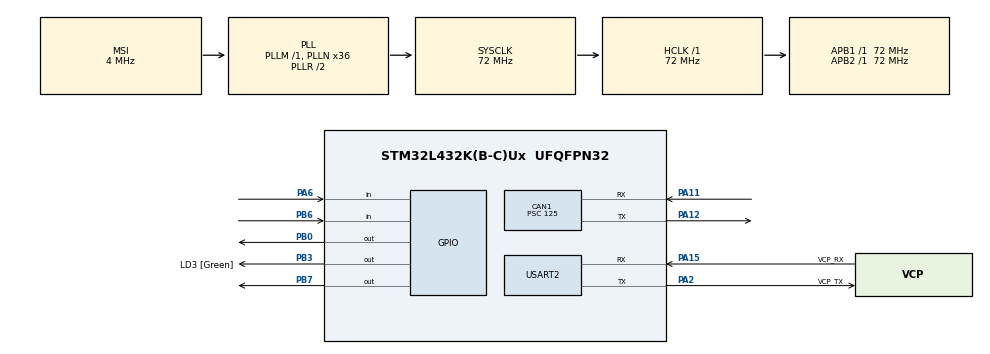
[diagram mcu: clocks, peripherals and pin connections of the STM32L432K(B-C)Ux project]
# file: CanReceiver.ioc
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Mcu.Family=STM32L4
CAN1.NART=ENABLE
RCC.CortexFreq_Value=72000000
Dma.USART2_TX.1.MemInc=DMA_MINC_ENABLE
PA0.GPIO_Label=MCO [High speed clock in]
PA11.Mode=CAN_Activate
PA15\ (JTDI).Signal=USART2_RX
PC15-OSC32_OUT\ (PC15).Mode=LSE-External-Oscillator
RCC.SYSCLKSource=RCC_SYSCLKSOURCE_PLLCLK
ProjectManager.StackSize=0x400
PB3\ (JTDO-TRACESWO).Signal=GPIO_Output
PC14-OSC32_IN\ (PC14).Mode=LSE-External-Oscillator
PA14\ (JTCK-SWCLK).Signal=SYS_JTCK-SWCLK
PA15\ (JTDI).Mode=Asynchronous
PA12.Signal=CAN1_TX
Dma.USART2_RX.0.Priority=DMA_PRIORITY_LOW
Dma.USART2_RX.0.PeriphDataAlignment=DMA_PDATAALIGN_BYTE
RCC.HCLKFreq_Value=72000000
RCC.APB2TimFreq_Value=72000000
PB6.Signal=GPIO_Input
Dma.USART2_TX.1.Mode=DMA_CIRCULAR
RCC.AHBFreq_Value=72000000
RCC.HSE_VALUE=8000000
USART2.VirtualMode-Asynchronous=VM_ASYNC
RCC.PLLMUL=RCC_PLLMUL_4
CAN1.RFLM=DISABLE
PA6.GPIO_PuPd=GPIO_PULLDOWN
Dma.USART2_RX.0.MemDataAlignment=DMA_MDATAALIGN_BYTE
Dma.USART2_TX.1.Instance=DMA1_Channel7
PA0.Mode=HSE-External-Clock-Source-for-LittleOrca
Dma.USART2_RX.0.Instance=DMA1_Channel6
PB7.Signal=GPIO_Output
PA0.Signal=RCC_CK_IN
CAN1.Prescaler=125
Mcu.Package=UFQFPN32
PA6.Signal=GPIO_Input
Dma.USART2_RX.0.PeriphInc=DMA_PINC_DISABLE
PA2.GPIO_Label=VCP_TX
Dma.Request1=USART2_TX
RCC.APB1TimFreq_Value=72000000
PA13\ (JTMS-SWDIO).Signal=SYS_JTMS-SWDIO
Dma.Request0=USART2_RX
CAN1.CalculateTimeBit=26041.66
RCC.HSI48_VALUE=48000000
CAN1.CalculateTimeQuantum=1736.111111111111
RCC.MSI_VALUE=4000000
PA14\ (JTCK-SWCLK).Mode=Serial_Wire
NVIC.DMA1_Channel6_IRQn=true\:0\:0\:false\:false\:true\:false\:true
Dma.USART2_TX.1.Priority=DMA_PRIORITY_LOW
CAN1.TXFP=ENABLE
PB6.GPIO_PuPd=GPIO_PULLDOWN
CAN1.CalculateBaudRate=38400
Dma.USART2_RX.0.Direction=DMA_PERIPH_TO_MEMORY
PC15-OSC32_OUT\ (PC15).Signal=RCC_OSC32_OUT
PA14\ (JTCK-SWCLK).GPIO_Label=SWCLK
PB3\ (JTDO-TRACESWO).GPIO_Label=LD3 [Green]
Dma.USART2_TX.1.PeriphDataAlignment=DMA_PDATAALIGN_BYTE
Dma.USART2_RX.0.Mode=DMA_CIRCULAR
RCC.HSI16_VALUE=16000000
CAN1.BS2=CAN_BS2_2TQ
CAN1.BS1=CAN_BS1_12TQ
ProjectManager.TargetToolchain=STM32CubeIDE
Dma.USART2_TX.1.PeriphInc=DMA_PINC_DISABLE
board=NUCLEO-L432KC
RCC.VCOOutputFreq_Value=144000000
Dma.USART2_TX.1.Direction=DMA_MEMORY_TO_PERIPH
RCC.APB2Freq_Value=72000000
PA13\ (JTMS-SWDIO).GPIO_Label=SWDIO
PA15\ (JTDI).GPIO_Label=VCP_RX
Mcu.Name=STM32L432K(B-C)Ux
Dma.USART2_RX.0.MemInc=DMA_MINC_ENABLE
PA2.Signal=USART2_TX
PA13\ (JTMS-SWDIO).Mode=Serial_Wire
RCC.SYSCLKFreq_VALUE=72000000
PA12.Mode=CAN_Activate
PC14-OSC32_IN\ (PC14).Signal=RCC_OSC32_IN
PA11.Signal=CAN1_RX
ProjectManager.HeapSize=0x200
RCC.HSI_VALUE=16000000
NVIC.PriorityGroup=NVIC_PRIORITYGROUP_4
RCC.PLLN=36
PA2.Mode=Asynchronous
NVIC.DMA1_Channel7_IRQn=true\:0\:0\:false\:false\:true\:false\:true
Dma.USART2_TX.1.MemDataAlignment=DMA_MDATAALIGN_BYTE
RCC.APB1Freq_Value=72000000
PB0.Signal=GPIO_Output
NVIC.CAN1_RX0_IRQn=true\:0\:0\:false\:false\:true\:true\:true

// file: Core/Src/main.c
/* USER CODE BEGIN Header */
/**
  ******************************************************************************
  * @file           : main.c
  * @brief          : Main program body
  ******************************************************************************
  * @attention
  *
  * <h2><center>&copy; Copyright (c) 2021 STMicroelectronics.
  * All rights reserved.</center></h2>
  *
  * This software component is licensed by ST under BSD 3-Clause license,
  * the "License"; You may not use this file except in compliance with the
  * License. You may obtain a copy of the License at:
  *                        opensource.org/licenses/BSD-3-Clause
  *
  ******************************************************************************
  */
/* USER CODE END Header */
#include "main.h"

/* USER CODE BEGIN Includes */
#include "circle_queue.h"
#include "stdio.h"
#include "string.h"
#include "circle_queue_struct.h"
#include "stdbool.h"
#include "can_driver.h"
#include "comm_relay.h"
#include "stdbool.h"

/* USER CODE END Includes */

/* USER CODE BEGIN PD */

#define PACKAGE_SIZE 8
#define UART_IN_BUF_SIZE 512
/* USER CODE END PD */

/* USER CODE BEGIN PM */

void uart_transmitFromCanRxQueue();

/* USER CODE END PM */

CAN_HandleTypeDef hcan1;

UART_HandleTypeDef huart2;
DMA_HandleTypeDef hdma_usart2_rx;
DMA_HandleTypeDef hdma_usart2_tx;

/* USER CODE BEGIN PV */

int ERR_COUNT = 0;
bool uart_tx_ready = 1;
char frameBuffer[COMM_MAX_FRAME_SIZE + 1] = {0};
char * nextTxFrame = NULL;

int uart_in_lastStart = -1;
int uart_in_read_ptr = 0;
int uart_dma_laps_ahead = 0;
char uart_in[UART_IN_BUF_SIZE] = {0};
int uart_in_escapes = 0;

/* USER CODE BEGIN PV */

CAN_FilterTypeDef CanFilter;
CAN_RxHeaderTypeDef CanRxHeader;
CAN_TxHeaderTypeDef CanTxHeader;

/* USER CODE END PV */

void SystemClock_Config(void);
static void MX_GPIO_Init(void);
static void MX_DMA_Init(void);
static void MX_USART2_UART_Init(void);
static void MX_CAN1_Init(void);

int main(void)
{

  /* MCU Configuration--------------------------------------------------------*/

  /* Reset of all peripherals, Initializes the Flash interface and the Systick. */
  HAL_Init();

  /* Configure the system clock */
  SystemClock_Config();

  /* Initialize all configured peripherals */
  MX_GPIO_Init();
  MX_DMA_Init();
  MX_USART2_UART_Init();
  MX_CAN1_Init();
  /* USER CODE BEGIN 2 */
  can_init(&hcan1, &CanRxHeader, &CanTxHeader, &huart2);
  /* USER CODE END 2 */

  /* Infinite loop */
  /* USER CODE BEGIN WHILE */

  uart_init();

  // Code necessary for test of Req 10
  struct CAN_QUEUE_DATA Req10TestPackage = {16, {0, 0, 0, 0, 0, 0, 0, 0}};

  /*for (int i = 0; i < 100; i++) {
	 while (!passToCanTX(&Req10TestPackage)) {} // Transmitting message over CAN as fast as possible.
  }*/

  while (1)
  {
	  uart_transmitFromCanRxQueue(); 	// CAN IN -> UART OUT
	  uart_in_read();					// UART IN -> CAN OUT
    /* USER CODE END WHILE */

  }
}

void SystemClock_Config(void)
{
  RCC_OscInitTypeDef RCC_OscInitStruct = {0};
  RCC_ClkInitTypeDef RCC_ClkInitStruct = {0};
  RCC_PeriphCLKInitTypeDef PeriphClkInit = {0};

  /** Configure LSE Drive Capability
  */
  HAL_PWR_EnableBkUpAccess();
  __HAL_RCC_LSEDRIVE_CONFIG(RCC_LSEDRIVE_LOW);
  /** Initializes the RCC Oscillators according to the specified parameters
  * in the RCC_OscInitTypeDef structure.
  */
  RCC_OscInitStruct.OscillatorType = RCC_OSCILLATORTYPE_LSE|RCC_OSCILLATORTYPE_MSI;
  RCC_OscInitStruct.LSEState = RCC_LSE_ON;
  RCC_OscInitStruct.MSIState = RCC_MSI_ON;
  RCC_OscInitStruct.MSICalibrationValue = 0;
  RCC_OscInitStruct.MSIClockRange = RCC_MSIRANGE_6;
  RCC_OscInitStruct.PLL.PLLState = RCC_PLL_ON;
  RCC_OscInitStruct.PLL.PLLSource = RCC_PLLSOURCE_MSI;
  RCC_OscInitStruct.PLL.PLLM = 1;
  RCC_OscInitStruct.PLL.PLLN = 36;
  RCC_OscInitStruct.PLL.PLLP = RCC_PLLP_DIV7;
  RCC_OscInitStruct.PLL.PLLQ = RCC_PLLQ_DIV2;
  RCC_OscInitStruct.PLL.PLLR = RCC_PLLR_DIV2;
  if (HAL_RCC_OscConfig(&RCC_OscInitStruct) != HAL_OK)
  {
    Error_Handler();
  }
  /** Initializes the CPU, AHB and APB buses clocks
  */
  RCC_ClkInitStruct.ClockType = RCC_CLOCKTYPE_HCLK|RCC_CLOCKTYPE_SYSCLK
                              |RCC_CLOCKTYPE_PCLK1|RCC_CLOCKTYPE_PCLK2;
  RCC_ClkInitStruct.SYSCLKSource = RCC_SYSCLKSOURCE_PLLCLK;
  RCC_ClkInitStruct.AHBCLKDivider = RCC_SYSCLK_DIV1;
  RCC_ClkInitStruct.APB1CLKDivider = RCC_HCLK_DIV1;
  RCC_ClkInitStruct.APB2CLKDivider = RCC_HCLK_DIV1;

  if (HAL_RCC_ClockConfig(&RCC_ClkInitStruct, FLASH_LATENCY_4) != HAL_OK)
  {
    Error_Handler();
  }
  PeriphClkInit.PeriphClockSelection = RCC_PERIPHCLK_USART2;
  PeriphClkInit.Usart2ClockSelection = RCC_USART2CLKSOURCE_PCLK1;
  if (HAL_RCCEx_PeriphCLKConfig(&PeriphClkInit) != HAL_OK)
  {
    Error_Handler();
  }
  /** Configure the main internal regulator output voltage
  */
  if (HAL_PWREx_ControlVoltageScaling(PWR_REGULATOR_VOLTAGE_SCALE1) != HAL_OK)
  {
    Error_Handler();
  }
  /** Enable MSI Auto calibration
  */
  HAL_RCCEx_EnableMSIPLLMode();
}

static void MX_CAN1_Init(void)
{

  /* USER CODE BEGIN CAN1_Init 0 */
	  uint32_t ext_id = 0x00000000;							// Den største værdi der kan være på MSB er 1
	  uint32_t mask = 0xFFFFFF00;
	  CanFilter.FilterMode = CAN_FILTERMODE_IDMASK;			// Vi vælger at bruge mask mode
	  CanFilter.FilterIdHigh = (ext_id & 0x1FFFFFFF) >> 13; // (ext_id << 3) >> 16;						// Da vi har 32 bit ID, er dette de 16 MSB af ID
	  CanFilter.FilterIdLow =  (ext_id << 3) | CAN_ID_EXT;	// Da vi har 32 bit ID, er dette de 16 LSB af ID
	  CanFilter.FilterMaskIdHigh = (mask & 0x1FFFFFFF) >> 13;// << 5;					// Maskens 16 MSB
	  CanFilter.FilterMaskIdLow = (mask << 3);// << 5 | 0x10;					// Maskens 16 LSB
	  CanFilter.FilterScale = CAN_FILTERSCALE_32BIT;		// ID er et 32 bit-tal
	  CanFilter.FilterActivation = ENABLE;					// Vi aktiverer filteret
	  CanFilter.FilterBank = 0;								// Vi vælger filter 0 ud af 14 mulige filtre
	  CanFilter.FilterFIFOAssignment = CAN_FILTER_FIFO0;	// Vi vælger FIFO0 til forskel for FIFO1

	  CanRxHeader.DLC = PACKAGE_SIZE;
	  CanRxHeader.ExtId = 0x0;
	  CanRxHeader.IDE = CAN_ID_EXT;
	  CanRxHeader.RTR = CAN_RTR_DATA;
	  CanRxHeader.FilterMatchIndex = 0x00;

	  CanTxHeader.DLC = PACKAGE_SIZE;                        // Der kommer 8 byte som data i beskeden
	  CanTxHeader.ExtId = 0x00000000;                        // 32 bit ID (29 er identifier)
	  CanTxHeader.IDE = CAN_ID_EXT;                            // Vi har et extended ID = 32 bit til forskel fra standard på 16 bit (11 er identifier)
	  CanTxHeader.RTR = CAN_RTR_DATA;                        // Vi sender data
	  CanTxHeader.TransmitGlobalTime = DISABLE;                // Der skal IKKE sendes et timestamp med hver besked

  /* USER CODE END CAN1_Init 0 */

  /* USER CODE BEGIN CAN1_Init 1 */
	  __HAL_RCC_CAN1_CLK_ENABLE();

  /* USER CODE END CAN1_Init 1 */
  hcan1.Instance = CAN1;
  hcan1.Init.Prescaler = 125;
  hcan1.Init.Mode = CAN_MODE_NORMAL;
  hcan1.Init.SyncJumpWidth = CAN_SJW_1TQ;
  hcan1.Init.TimeSeg1 = CAN_BS1_12TQ;
  hcan1.Init.TimeSeg2 = CAN_BS2_2TQ;
  hcan1.Init.TimeTriggeredMode = DISABLE;
  hcan1.Init.AutoBusOff = DISABLE;
  hcan1.Init.AutoWakeUp = DISABLE;
  hcan1.Init.AutoRetransmission = ENABLE;
  hcan1.Init.ReceiveFifoLocked = DISABLE;
  hcan1.Init.TransmitFifoPriority = ENABLE;
  if (HAL_CAN_Init(&hcan1) != HAL_OK)
  {
    Error_Handler();
  }
  /* USER CODE BEGIN CAN1_Init 2 */

    while (HAL_CAN_ConfigFilter(&hcan1, &CanFilter) != HAL_OK) {}
    HAL_CAN_ActivateNotification(&hcan1, CAN_IT_RX_FIFO0_MSG_PENDING);
    HAL_CAN_Start(&hcan1);
  /* USER CODE END CAN1_Init 2 */

}

static void MX_USART2_UART_Init(void)
{

  huart2.Instance = USART2;
  huart2.Init.BaudRate = 115200;
  huart2.Init.WordLength = UART_WORDLENGTH_8B;
  huart2.Init.StopBits = UART_STOPBITS_1;
  huart2.Init.Parity = UART_PARITY_NONE;
  huart2.Init.Mode = UART_MODE_TX_RX;
  huart2.Init.HwFlowCtl = UART_HWCONTROL_NONE;
  huart2.Init.OverSampling = UART_OVERSAMPLING_16;
  huart2.Init.OneBitSampling = UART_ONE_BIT_SAMPLE_DISABLE;
  huart2.AdvancedInit.AdvFeatureInit = UART_ADVFEATURE_NO_INIT;
  if (HAL_UART_Init(&huart2) != HAL_OK)
  {
    Error_Handler();
  }

}

static void MX_DMA_Init(void)
{

  /* DMA controller clock enable */
  __HAL_RCC_DMA1_CLK_ENABLE();

  /* DMA interrupt init */
  /* DMA1_Channel6_IRQn interrupt configuration */
  HAL_NVIC_SetPriority(DMA1_Channel6_IRQn, 0, 0);
  HAL_NVIC_EnableIRQ(DMA1_Channel6_IRQn);
  /* DMA1_Channel7_IRQn interrupt configuration */
  HAL_NVIC_SetPriority(DMA1_Channel7_IRQn, 0, 0);
  HAL_NVIC_EnableIRQ(DMA1_Channel7_IRQn);

}

static void MX_GPIO_Init(void)
{
  GPIO_InitTypeDef GPIO_InitStruct = {0};

  /* GPIO Ports Clock Enable */
  __HAL_RCC_GPIOC_CLK_ENABLE();
  __HAL_RCC_GPIOA_CLK_ENABLE();
  __HAL_RCC_GPIOB_CLK_ENABLE();

  /*Configure GPIO pin Output Level */
  HAL_GPIO_WritePin(GPIOB, GPIO_PIN_0|LD3_Pin|GPIO_PIN_7, GPIO_PIN_RESET);

  /*Configure GPIO pin : PA6 */
  GPIO_InitStruct.Pin = GPIO_PIN_6;
  GPIO_InitStruct.Mode = GPIO_MODE_INPUT;
  GPIO_InitStruct.Pull = GPIO_PULLDOWN;
  HAL_GPIO_Init(GPIOA, &GPIO_InitStruct);

  /*Configure GPIO pins : PB0 LD3_Pin PB7 */
  GPIO_InitStruct.Pin = GPIO_PIN_0|LD3_Pin|GPIO_PIN_7;
  GPIO_InitStruct.Mode = GPIO_MODE_OUTPUT_PP;
  GPIO_InitStruct.Pull = GPIO_NOPULL;
  GPIO_InitStruct.Speed = GPIO_SPEED_FREQ_LOW;
  HAL_GPIO_Init(GPIOB, &GPIO_InitStruct);

  /*Configure GPIO pin : PB6 */
  GPIO_InitStruct.Pin = GPIO_PIN_6;
  GPIO_InitStruct.Mode = GPIO_MODE_INPUT;
  GPIO_InitStruct.Pull = GPIO_PULLDOWN;
  HAL_GPIO_Init(GPIOB, &GPIO_InitStruct);

}

/* USER CODE BEGIN 4 */

void uart_init() {
	HAL_UART_Receive_DMA(&huart2, uart_in, UART_IN_BUF_SIZE);
}

void HAL_UART_TxCpltCallback(UART_HandleTypeDef *huart) {
	HAL_UART_AbortTransmit(&huart2);
	uart_transmitFromCanRxQueue();
}

void HAL_UART_RxCpltCallback(UART_HandleTypeDef *huart) {
	if (++uart_dma_laps_ahead >= 2) {
		ERR_COUNT++;
	}
}

void uart_in_read() {
	int dma_ptr = (UART_IN_BUF_SIZE - huart2.hdmarx->Instance->CNDTR) + UART_IN_BUF_SIZE * uart_dma_laps_ahead;

	if (dma_ptr - uart_in_read_ptr >= UART_IN_BUF_SIZE) {
		ERR_COUNT++; // Buffer overflow
	}

	for (; dma_ptr - uart_in_read_ptr > 0; uart_in_read_ptr++) {

		if (uart_in_read_ptr >= UART_IN_BUF_SIZE) {
			uart_in_read_ptr = 0;
			uart_in_lastStart -= UART_IN_BUF_SIZE;
			uart_dma_laps_ahead--;
			dma_ptr = (UART_IN_BUF_SIZE - huart2.hdmarx->Instance->CNDTR) + UART_IN_BUF_SIZE * uart_dma_laps_ahead;
		}

		if (uart_in[uart_in_read_ptr] == COMM_DEL_START) {
			uart_in_lastStart = uart_in_read_ptr;
			uart_in_escapes = 0;
		}
		else if (uart_in[uart_in_read_ptr] == COMM_ESCAPE) uart_in_escapes++;
		else if (uart_in[uart_in_read_ptr] == COMM_DEL_STOP) {

			int frameLength = uart_in_read_ptr - uart_in_lastStart + 1;

			if (frameLength <= COMM_MAX_FRAME_SIZE &&			// Characters can fit in a frame
					frameLength <= PACKAGE_SIZE + 3 + uart_in_escapes	// Data can't be as an example be 16 times 'A'
					/*&& escapes <= 9*/) {							// A frame can't be filled with '#'
				//uart_in_lastStart = -1; <--------
				struct CAN_QUEUE_DATA package = {0, {0}};
				char frame[COMM_MAX_FRAME_SIZE + 1] = {0};

				if (uart_in_lastStart < 0) {
					memcpy(frame, uart_in + UART_IN_BUF_SIZE + uart_in_lastStart, -uart_in_lastStart);
					memcpy(frame - uart_in_lastStart, uart_in, uart_in_read_ptr + 1);
				}
				else memcpy(frame, uart_in + uart_in_lastStart, frameLength);

 				if (from_frame(frame, frameLength, &package) == 1) {
					passToCanTX(&package);
				}
				uart_in_lastStart = uart_in_read_ptr - COMM_MAX_FRAME_SIZE;
			}
		}
	}
}

void uart_transmitFromCanRxQueue() {
	if (huart2.gState == HAL_UART_STATE_READY) {
		struct CAN_QUEUE_DATA package = { 0, { 0 } };

		if (nextTxFrame == NULL && CAN_from_rxQueue(&package)) {

			memset(frameBuffer, 0, COMM_MAX_FRAME_SIZE);

			if (to_frame(frameBuffer, sizeof(frameBuffer), &package) == 1) {
				// Package is put in frame and transmitted
				nextTxFrame = frameBuffer;
			}
		}

		if (nextTxFrame != NULL && HAL_UART_Transmit_DMA(&huart2,
				(uint8_t*) nextTxFrame, strlen(frameBuffer)) == HAL_OK) {
			nextTxFrame = NULL;
		} else {
			ERR_COUNT++;
		}
	}
}

/* USER CODE END 4 */

void Error_Handler(void)
{
  __disable_irq();
  while (1)
  {
  }
}

/************************ (C) COPYRIGHT STMicroelectronics *****END OF FILE****/
